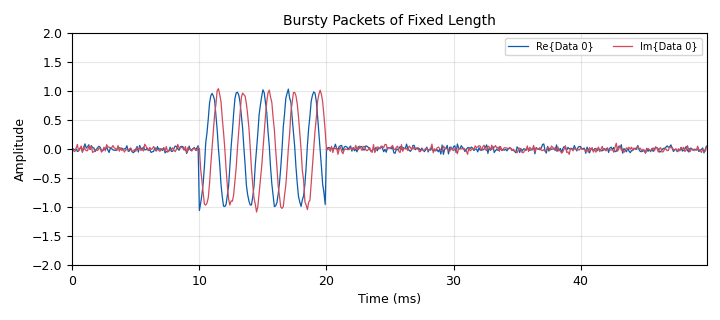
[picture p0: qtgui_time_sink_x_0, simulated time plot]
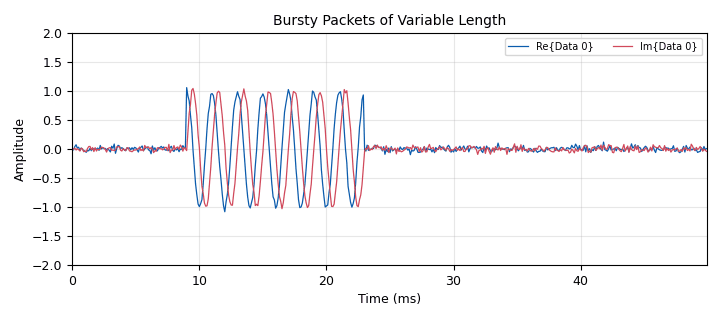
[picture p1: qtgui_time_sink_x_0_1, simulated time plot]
<?xml version='1.0' encoding='utf-8'?>
<?grc format='1' created='3.7.12'?>
<flow_graph>
<block>
<key>options</key>
<param><key>id</key><value>stream_to_pdu</value></param>
<param><key>generate_options</key><value>qt_gui</value></param>
</block>
<block>
<key>variable_tag_object</key>
<param><key>id</key><value>burst1_tag1</value></param>
<param><key>key</key><value>pmt.intern("SOF")</value></param>
<param><key>offset</key><value>0</value></param>
<param><key>src</key><value>pmt.intern("src")</value></param>
<param><key>value</key><value>pmt.intern("anything")</value></param>
</block>
<block>
<key>variable_tag_object</key>
<param><key>id</key><value>burst1_tag2</value></param>
<param><key>key</key><value>pmt.intern("burst1_key")</value></param>
<param><key>offset</key><value>90</value></param>
<param><key>src</key><value>pmt.intern("src")</value></param>
<param><key>value</key><value>pmt.intern("burst1_value")</value></param>
</block>
<block>
<key>variable_tag_object</key>
<param><key>id</key><value>burst2_tag1</value></param>
<param><key>key</key><value>pmt.intern("SOF")</value></param>
<param><key>offset</key><value>100 + int(samp_rate)</value></param>
<param><key>src</key><value>pmt.intern("src")</value></param>
<param><key>value</key><value>pmt.intern("anything")</value></param>
</block>
<block>
<key>variable_tag_object</key>
<param><key>id</key><value>burst2_tag2</value></param>
<param><key>key</key><value>pmt.intern("burst2_key")</value></param>
<param><key>offset</key><value>100 + int(samp_rate) + 90</value></param>
<param><key>src</key><value>pmt.intern("src")</value></param>
<param><key>value</key><value>pmt.intern("burst2_value")</value></param>
</block>
<block>
<key>variable_tag_object</key>
<param><key>id</key><value>burst3_tag1</value></param>
<param><key>key</key><value>pmt.intern("packet_len")</value></param>
<param><key>offset</key><value>0</value></param>
<param><key>src</key><value>pmt.intern("src")</value></param>
<param><key>value</key><value>pmt.from_long(20)</value></param>
</block>
<block>
<key>variable_tag_object</key>
<param><key>id</key><value>burst3_tag2</value></param>
<param><key>key</key><value>pmt.intern("burst3_key")</value></param>
<param><key>offset</key><value>10</value></param>
<param><key>src</key><value>pmt.intern("src")</value></param>
<param><key>value</key><value>pmt.intern("burst3_value")</value></param>
</block>
<block>
<key>variable_tag_object</key>
<param><key>id</key><value>burst4_tag1</value></param>
<param><key>key</key><value>pmt.intern("packet_len")</value></param>
<param><key>offset</key><value>20 + int(samp_rate) + 10</value></param>
<param><key>src</key><value>pmt.intern("src")</value></param>
<param><key>value</key><value>pmt.from_long(140)</value></param>
</block>
<block>
<key>variable_tag_object</key>
<param><key>id</key><value>burst4_tag2</value></param>
<param><key>key</key><value>pmt.intern("burst4_key")</value></param>
<param><key>offset</key><value>20 + int(samp_rate) + 120</value></param>
<param><key>src</key><value>pmt.intern("src")</value></param>
<param><key>value</key><value>pmt.intern("burst4_value")</value></param>
</block>
<block>
<key>variable</key>
<param><key>id</key><value>samp_rate</value></param>
<param><key>value</key><value>10e3</value></param>
</block>
<block>
<key>analog_fastnoise_source_x</key>
<param><key>id</key><value>analog_fastnoise_source_x_0_0</value></param>
<param><key>amp</key><value>0.05</value></param>
<param><key>noise_type</key><value>analog.GR_GAUSSIAN</value></param>
<param><key>type</key><value>complex</value></param>
<param><key>seed</key><value>0</value></param>
<param><key>samples</key><value>8192</value></param>
</block>
<block>
<key>analog_fastnoise_source_x</key>
<param><key>id</key><value>analog_fastnoise_source_x_0_0_0</value></param>
<param><key>amp</key><value>0.05</value></param>
<param><key>noise_type</key><value>analog.GR_GAUSSIAN</value></param>
<param><key>type</key><value>complex</value></param>
<param><key>seed</key><value>0</value></param>
<param><key>samples</key><value>8192</value></param>
</block>
<block>
<key>analog_sig_source_x</key>
<param><key>id</key><value>analog_sig_source_x_0</value></param>
<param><key>amp</key><value>1</value></param>
<param><key>freq</key><value>500</value></param>
<param><key>offset</key><value>0</value></param>
<param><key>type</key><value>complex</value></param>
<param><key>samp_rate</key><value>samp_rate</value></param>
<param><key>waveform</key><value>analog.GR_COS_WAVE</value></param>
</block>
<block>
<key>analog_sig_source_x</key>
<param><key>id</key><value>analog_sig_source_x_0_0</value></param>
<param><key>amp</key><value>1</value></param>
<param><key>freq</key><value>500</value></param>
<param><key>offset</key><value>0</value></param>
<param><key>type</key><value>complex</value></param>
<param><key>samp_rate</key><value>samp_rate</value></param>
<param><key>waveform</key><value>analog.GR_COS_WAVE</value></param>
</block>
<block>
<key>blocks_add_xx</key>
<param><key>id</key><value>blocks_add_xx_0_0</value></param>
<param><key>type</key><value>complex</value></param>
</block>
<block>
<key>blocks_add_xx</key>
<param><key>id</key><value>blocks_add_xx_0_0_0</value></param>
<param><key>type</key><value>complex</value></param>
</block>
<block>
<key>blocks_message_debug</key>
<param><key>id</key><value>blocks_message_debug_0</value></param>
</block>
<block>
<key>blocks_message_debug</key>
<param><key>id</key><value>blocks_message_debug_0_0</value></param>
</block>
<block>
<key>blocks_multiply_xx</key>
<param><key>id</key><value>blocks_multiply_xx_0</value></param>
<param><key>type</key><value>complex</value></param>
</block>
<block>
<key>blocks_multiply_xx</key>
<param><key>id</key><value>blocks_multiply_xx_0_0</value></param>
<param><key>type</key><value>complex</value></param>
</block>
<block>
<key>blocks_stream_to_pdu</key>
<param><key>id</key><value>blocks_stream_to_pdu_0</value></param>
<param><key>comment</key><value>This Stream to PDU block
is configured to slice the
stream at the 'SOF' tag with
length fixed to 100 samples.</value></param>
<param><key>type</key><value>complex</value></param>
<param><key>length_tag_key</key><value>packet_len</value></param>
<param><key>packet_length</key><value>100</value></param>
<param><key>offset_key</key><value>offset</value></param>
<param><key>fixed_mode</key><value>True</value></param>
<param><key>tag_key</key><value>SOF</value></param>
</block>
<block>
<key>blocks_stream_to_pdu</key>
<param><key>id</key><value>blocks_stream_to_pdu_0_0</value></param>
<param><key>comment</key><value>This Stream to PDU block
is configured to slice the
stream at the 'packet_len'
tag with length set by the
tag value.</value></param>
<param><key>type</key><value>complex</value></param>
<param><key>length_tag_key</key><value>packet_len</value></param>
<param><key>packet_length</key><value>100</value></param>
<param><key>offset_key</key><value>offset</value></param>
<param><key>fixed_mode</key><value>False</value></param>
<param><key>tag_key</key><value>SOF</value></param>
</block>
<block>
<key>blocks_throttle</key>
<param><key>id</key><value>blocks_throttle_0</value></param>
<param><key>samples_per_second</key><value>samp_rate</value></param>
<param><key>type</key><value>complex</value></param>
</block>
<block>
<key>blocks_throttle</key>
<param><key>id</key><value>blocks_throttle_0_0</value></param>
<param><key>samples_per_second</key><value>samp_rate</value></param>
<param><key>type</key><value>complex</value></param>
</block>
<block>
<key>blocks_vector_source_x</key>
<param><key>id</key><value>blocks_vector_source_x_0</value></param>
<param><key>comment</key><value>This source creates two bursts
of length 100 with 1 second of
spacing between them.</value></param>
<param><key>type</key><value>complex</value></param>
<param><key>repeat</key><value>True</value></param>
<param><key>tags</key><value>[burst1_tag1, burst1_tag2, burst2_tag1, burst2_tag2]</value></param>
<param><key>vector</key><value>(1,)*100 + (0,)*int(samp_rate) + (-1,)*100 + (0,)*int(samp_rate)</value></param>
</block>
<block>
<key>blocks_vector_source_x</key>
<param><key>id</key><value>blocks_vector_source_x_0_0</value></param>
<param><key>comment</key><value>This source creates two bursts
of length 20 and 140 with
1 second of spacing between
them.</value></param>
<param><key>type</key><value>complex</value></param>
<param><key>repeat</key><value>True</value></param>
<param><key>tags</key><value>[burst3_tag1, burst3_tag2, burst4_tag1, burst4_tag2]</value></param>
<param><key>vector</key><value>(1,)*20 + (0,)*int(samp_rate) + (1,)*140 + (0,)*int(samp_rate)</value></param>
</block>
<block>
<key>qtgui_time_sink_x</key>
<param><key>id</key><value>qtgui_time_sink_x_0</value></param>
<param><key>gui_hint</key><value>0,0,1,1</value></param>
<param><key>color1</key><value>"blue"</value></param>
<param><key>label1</key><value></value></param>
<param><key>color2</key><value>"red"</value></param>
<param><key>label2</key><value></value></param>
<param><key>name</key><value>Bursty Packets of Fixed Length</value></param>
<param><key>size</key><value>500</value></param>
<param><key>srate</key><value>samp_rate</value></param>
<param><key>tr_delay</key><value>100/samp_rate</value></param>
<param><key>tr_mode</key><value>qtgui.TRIG_MODE_TAG</value></param>
<param><key>tr_tag</key><value>SOF</value></param>
<param><key>type</key><value>complex</value></param>
<param><key>update_time</key><value>1/10000</value></param>
<param><key>ymax</key><value>2</value></param>
<param><key>ymin</key><value>-2</value></param>
</block>
<block>
<key>qtgui_time_sink_x</key>
<param><key>id</key><value>qtgui_time_sink_x_0_0</value></param>
<param><key>gui_hint</key><value>0,1,1,1</value></param>
<param><key>color1</key><value>"blue"</value></param>
<param><key>label1</key><value></value></param>
<param><key>color2</key><value>"red"</value></param>
<param><key>label2</key><value></value></param>
<param><key>name</key><value>Fixed-Length PDUs</value></param>
<param><key>srate</key><value>samp_rate</value></param>
<param><key>type</key><value>msg_complex</value></param>
<param><key>update_time</key><value>1/1000</value></param>
<param><key>ymax</key><value>2</value></param>
<param><key>ymin</key><value>-2</value></param>
</block>
<block>
<key>qtgui_time_sink_x</key>
<param><key>id</key><value>qtgui_time_sink_x_0_0_0</value></param>
<param><key>gui_hint</key><value>1,1,1,1</value></param>
<param><key>color1</key><value>"blue"</value></param>
<param><key>label1</key><value></value></param>
<param><key>color2</key><value>"red"</value></param>
<param><key>label2</key><value></value></param>
<param><key>name</key><value>Variable-Length PDUs</value></param>
<param><key>srate</key><value>samp_rate</value></param>
<param><key>type</key><value>msg_complex</value></param>
<param><key>update_time</key><value>1/1000</value></param>
<param><key>ymax</key><value>2</value></param>
<param><key>ymin</key><value>-2</value></param>
</block>
<block>
<key>qtgui_time_sink_x</key>
<param><key>id</key><value>qtgui_time_sink_x_0_1</value></param>
<param><key>gui_hint</key><value>1,0,1,1</value></param>
<param><key>color1</key><value>"blue"</value></param>
<param><key>label1</key><value></value></param>
<param><key>color2</key><value>"red"</value></param>
<param><key>label2</key><value></value></param>
<param><key>name</key><value>Bursty Packets of Variable Length</value></param>
<param><key>size</key><value>500</value></param>
<param><key>srate</key><value>samp_rate</value></param>
<param><key>tr_delay</key><value>100/samp_rate</value></param>
<param><key>tr_mode</key><value>qtgui.TRIG_MODE_TAG</value></param>
<param><key>tr_tag</key><value>packet_len</value></param>
<param><key>type</key><value>complex</value></param>
<param><key>update_time</key><value>1/1000</value></param>
<param><key>ymax</key><value>2</value></param>
<param><key>ymin</key><value>-2</value></param>
</block>
<connection><source_block_id>analog_fastnoise_source_x_0_0</source_block_id><sink_block_id>blocks_add_xx_0_0</sink_block_id><source_key>0</source_key><sink_key>1</sink_key></connection>
<connection><source_block_id>analog_fastnoise_source_x_0_0_0</source_block_id><sink_block_id>blocks_add_xx_0_0_0</sink_block_id><source_key>0</source_key><sink_key>1</sink_key></connection>
<connection><source_block_id>analog_sig_source_x_0</source_block_id><sink_block_id>blocks_multiply_xx_0</sink_block_id><source_key>0</source_key><sink_key>1</sink_key></connection>
<connection><source_block_id>analog_sig_source_x_0_0</source_block_id><sink_block_id>blocks_multiply_xx_0_0</sink_block_id><source_key>0</source_key><sink_key>1</sink_key></connection>
<connection><source_block_id>blocks_add_xx_0_0</source_block_id><sink_block_id>blocks_stream_to_pdu_0_0</sink_block_id><source_key>0</source_key><sink_key>0</sink_key></connection>
<connection><source_block_id>blocks_add_xx_0_0</source_block_id><sink_block_id>qtgui_time_sink_x_0_1</sink_block_id><source_key>0</source_key><sink_key>0</sink_key></connection>
<connection><source_block_id>blocks_add_xx_0_0_0</source_block_id><sink_block_id>blocks_stream_to_pdu_0</sink_block_id><source_key>0</source_key><sink_key>0</sink_key></connection>
<connection><source_block_id>blocks_add_xx_0_0_0</source_block_id><sink_block_id>qtgui_time_sink_x_0</sink_block_id><source_key>0</source_key><sink_key>0</sink_key></connection>
<connection><source_block_id>blocks_multiply_xx_0</source_block_id><sink_block_id>blocks_add_xx_0_0</sink_block_id><source_key>0</source_key><sink_key>0</sink_key></connection>
<connection><source_block_id>blocks_multiply_xx_0_0</source_block_id><sink_block_id>blocks_add_xx_0_0_0</sink_block_id><source_key>0</source_key><sink_key>0</sink_key></connection>
<connection><source_block_id>blocks_stream_to_pdu_0</source_block_id><sink_block_id>blocks_message_debug_0</sink_block_id><source_key>pdus</source_key><sink_key>print_pdu</sink_key></connection>
<connection><source_block_id>blocks_stream_to_pdu_0</source_block_id><sink_block_id>qtgui_time_sink_x_0_0</sink_block_id><source_key>pdus</source_key><sink_key>in</sink_key></connection>
<connection><source_block_id>blocks_stream_to_pdu_0_0</source_block_id><sink_block_id>blocks_message_debug_0_0</sink_block_id><source_key>pdus</source_key><sink_key>print_pdu</sink_key></connection>
<connection><source_block_id>blocks_stream_to_pdu_0_0</source_block_id><sink_block_id>qtgui_time_sink_x_0_0_0</sink_block_id><source_key>pdus</source_key><sink_key>in</sink_key></connection>
<connection><source_block_id>blocks_throttle_0</source_block_id><sink_block_id>blocks_multiply_xx_0_0</sink_block_id><source_key>0</source_key><sink_key>0</sink_key></connection>
<connection><source_block_id>blocks_throttle_0_0</source_block_id><sink_block_id>blocks_multiply_xx_0</sink_block_id><source_key>0</source_key><sink_key>0</sink_key></connection>
<connection><source_block_id>blocks_vector_source_x_0</source_block_id><sink_block_id>blocks_throttle_0</sink_block_id><source_key>0</source_key><sink_key>0</sink_key></connection>
<connection><source_block_id>blocks_vector_source_x_0_0</source_block_id><sink_block_id>blocks_throttle_0_0</sink_block_id><source_key>0</source_key><sink_key>0</sink_key></connection>
</flow_graph>
